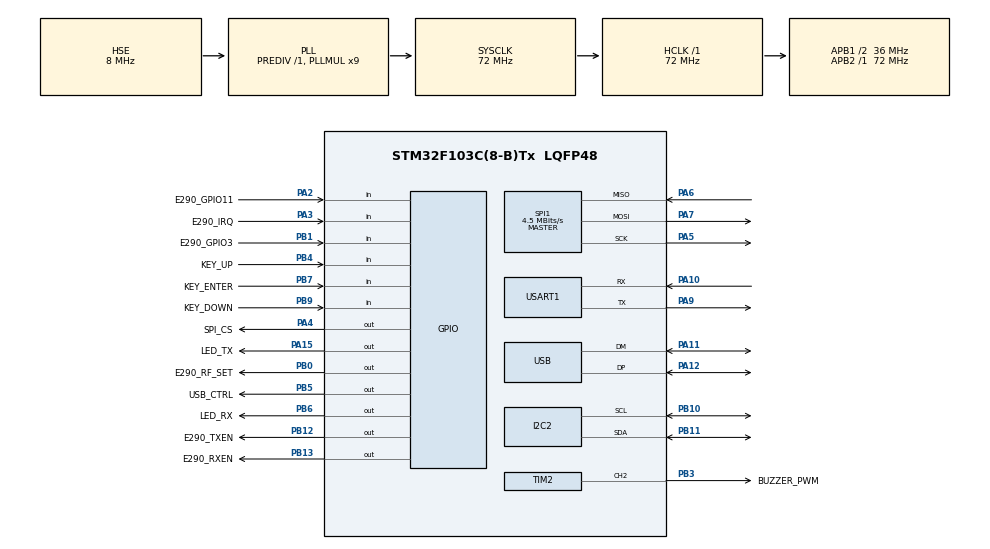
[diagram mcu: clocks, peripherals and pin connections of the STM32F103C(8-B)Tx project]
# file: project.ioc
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I2C2.I2C_Mode=I2C_Fast
Mcu.Family=STM32F1
Mcu.Name=STM32F103C(8-B)Tx
Mcu.Package=LQFP48
NVIC.PriorityGroup=NVIC_PRIORITYGROUP_4
NVIC.USB_LP_CAN1_RX0_IRQn=true\:0\:0\:false\:false\:true\:false\:true\:true
PA10.Mode=Asynchronous
PA10.Signal=USART1_RX
PA11.Mode=Device
PA11.Signal=USB_DM
PA12.Mode=Device
PA12.Signal=USB_DP
PA13.Mode=Serial_Wire
PA13.Signal=SYS_JTMS-SWDIO
PA14.Mode=Serial_Wire
PA14.Signal=SYS_JTCK-SWCLK
PA15.GPIO_Label=LED_TX
PA15.PinState=GPIO_PIN_SET
PA15.Signal=GPIO_Output
PA2.GPIO_Label=E290_GPIO11
PA2.Signal=GPIO_Input
PA3.GPIO_Label=E290_IRQ
PA3.GPIO_PuPd=GPIO_PULLUP
PA3.Signal=GPIO_Input
PA4.GPIO_Label=SPI_CS
PA4.GPIO_PuPd=GPIO_PULLUP
PA4.GPIO_Speed=GPIO_SPEED_FREQ_HIGH
PA4.PinState=GPIO_PIN_SET
PA4.Signal=GPIO_Output
PA5.Mode=Full_Duplex_Master
PA5.Signal=SPI1_SCK
PA6.Mode=Full_Duplex_Master
PA6.Signal=SPI1_MISO
PA7.Mode=Full_Duplex_Master
PA7.Signal=SPI1_MOSI
PA9.Mode=Asynchronous
PA9.Signal=USART1_TX
PB0.GPIO_Label=E290_RF_SET
PB0.GPIO_PuPd=GPIO_PULLUP
PB0.PinState=GPIO_PIN_SET
PB0.Signal=GPIO_Output
PB1.GPIO_Label=E290_GPIO3
PB1.GPIO_PuPd=GPIO_PULLUP
PB1.Signal=GPIO_Input
PB10.Mode=I2C
PB10.Signal=I2C2_SCL
PB11.Mode=I2C
PB11.Signal=I2C2_SDA
PB12.GPIO_Label=E290_TXEN
PB12.GPIO_PuPd=GPIO_NOPULL
PB12.Signal=GPIO_Output
PB13.GPIO_Label=E290_RXEN
PB13.GPIO_PuPd=GPIO_NOPULL
PB13.Signal=GPIO_Output
PB3.GPIO_Label=BUZZER_PWM
PB3.Signal=S_TIM2_CH2
PB4.GPIO_Label=KEY_UP
PB4.Signal=GPIO_Input
PB5.GPIO_Label=USB_CTRL
PB5.Signal=GPIO_Output
PB6.GPIO_Label=LED_RX
PB6.PinState=GPIO_PIN_SET
PB6.Signal=GPIO_Output
PB7.GPIO_Label=KEY_ENTER
PB7.Signal=GPIO_Input
PB9.GPIO_Label=KEY_DOWN
PB9.Signal=GPIO_Input
PC14-OSC32_IN.Mode=LSE-External-Oscillator
PC14-OSC32_IN.Signal=RCC_OSC32_IN
PC15-OSC32_OUT.Mode=LSE-External-Oscillator
PC15-OSC32_OUT.Signal=RCC_OSC32_OUT
PD0-OSC_IN.Mode=HSE-External-Oscillator
PD0-OSC_IN.Signal=RCC_OSC_IN
PD1-OSC_OUT.Mode=HSE-External-Oscillator
PD1-OSC_OUT.Signal=RCC_OSC_OUT
ProjectManager.HeapSize=0x200
ProjectManager.StackSize=0x400
ProjectManager.TargetToolchain=CMake
RCC.AHBFreq_Value=72000000
RCC.APB1CLKDivider=RCC_HCLK_DIV2
RCC.APB1Freq_Value=36000000
RCC.APB1TimFreq_Value=72000000
RCC.APB2Freq_Value=72000000
RCC.APB2TimFreq_Value=72000000
RCC.HCLKFreq_Value=72000000
RCC.PLLMUL=RCC_PLL_MUL9
RCC.SYSCLKFreq_VALUE=72000000
RCC.SYSCLKSource=RCC_SYSCLKSOURCE_PLLCLK
RCC.USBFreq_Value=48000000
RCC.USBPrescaler=RCC_USBCLKSOURCE_PLL_DIV1_5
SH.S_TIM2_CH2.0=TIM2_CH2,PWM Generation2 CH2
SPI1.BaudRatePrescaler=SPI_BAUDRATEPRESCALER_16
SPI1.CalculateBaudRate=4.5 MBits/s
SPI1.Direction=SPI_DIRECTION_2LINES
SPI1.Mode=SPI_MODE_MASTER
SPI1.VirtualType=VM_MASTER
TIM2.AutoReloadPreload=TIM_AUTORELOAD_PRELOAD_ENABLE
TIM2.Channel-PWM\ Generation2\ CH2=TIM_CHANNEL_2
TIM2.OCFastMode_PWM-PWM\ Generation2\ CH2=TIM_OCFAST_DISABLE
TIM2.Period=300-1
TIM2.Prescaler=72-1
TIM2.Pulse-PWM\ Generation2\ CH2=150-1
USART1.VirtualMode=VM_ASYNC
USB_DEVICE.CLASS_NAME_FS=CDC
USB_DEVICE.VirtualMode=Cdc
USB_DEVICE.VirtualModeFS=Cdc_FS
VP_USB_DEVICE_VS_USB_DEVICE_CDC_FS.Mode=CDC_FS
board=custom

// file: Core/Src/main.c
/* USER CODE BEGIN Header */
/**
  ******************************************************************************
  * @file           : main.c
  * @brief          : Main program body
  ******************************************************************************
  * @attention
  *
  * Copyright (c) 2025 STMicroelectronics.
  * All rights reserved.
  *
  * This software is licensed under terms that can be found in the LICENSE file
  * in the root directory of this software component.
  * If no LICENSE file comes with this software, it is provided AS-IS.
  *
  ******************************************************************************
  */
/* USER CODE END Header */
#include "main.h"
#include "i2c.h"
#include "spi.h"
#include "tim.h"
#include "usart.h"
#include "usb_device.h"
#include "gpio.h"

/* USER CODE BEGIN Includes */
#include "menu.h"
#include "e290_demo.h"
#include "pan_port.h"
#include "pan_rf.h"

/* USER CODE END Includes */

void SystemClock_Config(void);

int main(void)
{

  /* USER CODE BEGIN 1 */

  uint32_t ret = 0;

  /* USER CODE END 1 */

  /* MCU Configuration--------------------------------------------------------*/

  /* Reset of all peripherals, Initializes the Flash interface and the Systick. */
  HAL_Init();

  /* Configure the system clock */
  SystemClock_Config();

  /* Initialize all configured peripherals */
  MX_GPIO_Init();
  MX_I2C2_Init();
  MX_SPI1_Init();
  // MX_USB_DEVICE_Init();
  MX_TIM2_Init();
  MX_USART1_UART_Init();
  /* USER CODE BEGIN 2 */

  HAL_TIM_Base_Start(&htim2);
  ret = rf_init();
  if(ret != OK)
  {
      printf("RF Init Fail\r\n");

      while(1);
  }
  else
  {
      printf("Start !\r\n");
  }
  rf_set_default_para();

  Menu_Init();

  HAL_TIM_Base_Start(&htim2);
  ret = rf_init();
  if(ret != OK)
  {
      printf("RF Init Fail\r\n");

      while(1);
  }
  else
  {
      printf("Start !\r\n");
  }
  rf_set_default_para();

  Menu_Init();

  /* USER CODE END 2 */

  /* Infinite loop */
  /* USER CODE BEGIN WHILE */
  uint32_t next_tick=0;
  uint32_t now = 0;
  while (1)
  {
    Menu_Task();
    e290_demo_task();

    /* USER CODE END WHILE */

  }
}

void SystemClock_Config(void)
{
  RCC_OscInitTypeDef RCC_OscInitStruct = {0};
  RCC_ClkInitTypeDef RCC_ClkInitStruct = {0};
  RCC_PeriphCLKInitTypeDef PeriphClkInit = {0};

  /** Initializes the RCC Oscillators according to the specified parameters
  * in the RCC_OscInitTypeDef structure.
  */
  RCC_OscInitStruct.OscillatorType = RCC_OSCILLATORTYPE_HSE;
  RCC_OscInitStruct.HSEState = RCC_HSE_ON;
  RCC_OscInitStruct.HSEPredivValue = RCC_HSE_PREDIV_DIV1;
  RCC_OscInitStruct.HSIState = RCC_HSI_ON;
  RCC_OscInitStruct.PLL.PLLState = RCC_PLL_ON;
  RCC_OscInitStruct.PLL.PLLSource = RCC_PLLSOURCE_HSE;
  RCC_OscInitStruct.PLL.PLLMUL = RCC_PLL_MUL9;
  if (HAL_RCC_OscConfig(&RCC_OscInitStruct) != HAL_OK)
  {
    Error_Handler();
  }

  /** Initializes the CPU, AHB and APB buses clocks
  */
  RCC_ClkInitStruct.ClockType = RCC_CLOCKTYPE_HCLK|RCC_CLOCKTYPE_SYSCLK
                              |RCC_CLOCKTYPE_PCLK1|RCC_CLOCKTYPE_PCLK2;
  RCC_ClkInitStruct.SYSCLKSource = RCC_SYSCLKSOURCE_PLLCLK;
  RCC_ClkInitStruct.AHBCLKDivider = RCC_SYSCLK_DIV1;
  RCC_ClkInitStruct.APB1CLKDivider = RCC_HCLK_DIV2;
  RCC_ClkInitStruct.APB2CLKDivider = RCC_HCLK_DIV1;

  if (HAL_RCC_ClockConfig(&RCC_ClkInitStruct, FLASH_LATENCY_2) != HAL_OK)
  {
    Error_Handler();
  }
  PeriphClkInit.PeriphClockSelection = RCC_PERIPHCLK_USB;
  PeriphClkInit.UsbClockSelection = RCC_USBCLKSOURCE_PLL_DIV1_5;
  if (HAL_RCCEx_PeriphCLKConfig(&PeriphClkInit) != HAL_OK)
  {
    Error_Handler();
  }
}

void Error_Handler(void)
{
  __disable_irq();
  while (1)
  {
  }
}
